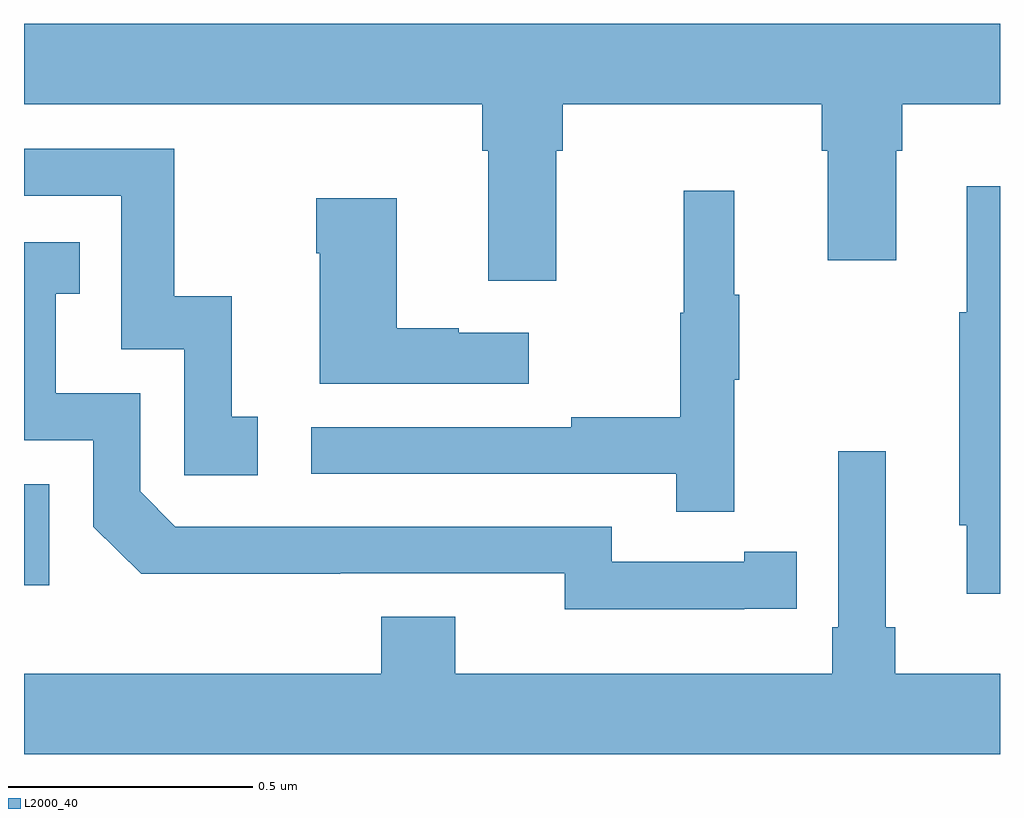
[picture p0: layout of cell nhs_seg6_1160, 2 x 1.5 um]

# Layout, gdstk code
import gdstk
lib = gdstk.Library(unit=1e-6, precision=1e-09)
def R(c, l, rs):  # rectangles x0, y0, x1, y1
    for r in rs: c.add(gdstk.rectangle(r[:2], r[2:], *l))
def P(c, l, *ps):  # polygons
    for p in ps: c.add(gdstk.Polygon(p, *l))
L2000_40 = (2000, 40)

nhs_seg6_1160 = lib.new_cell('nhs_seg6_1160')
R(nhs_seg6_1160, L2000_40, [(125,988.974,125.052,989.181)])
P(nhs_seg6_1160, L2000_40, [(126.091,989.864),(126.104,989.864),(126.104,989.96),(126.635,989.96),(126.635,989.864),(126.647,989.864),(126.647,989.64),(126.787,989.64),(126.787,989.864),(126.8,989.864),(126.8,989.96),(127,989.96),(127,990.124),(125,990.124),(125,989.96),(125.939,989.96),(125.939,989.864),(125.951,989.864),(125.951,989.598),(126.091,989.598)],
  [(125.479,989.319),(125.426,989.319),(125.426,989.566),(125.308,989.566),(125.308,989.868),(125,989.868),(125,989.772),(125.199,989.772),(125.199,989.457),(125.328,989.457),(125.328,989.199),(125.479,989.199)],
  [(127,989.791),(126.932,989.791),(126.932,989.533),(126.917,989.533),(126.917,989.097),(126.932,989.097),(126.932,988.956),(127,988.956)],
  [(126.455,989.395),(126.466,989.395),(126.466,989.569),(126.455,989.569),(126.455,989.782),(126.352,989.782),(126.352,989.532),(126.345,989.532),(126.345,989.318),(126.121,989.318),(126.121,989.298),(125.589,989.298),(125.589,989.202),(126.337,989.202),(126.337,989.124),(126.455,989.124)],
  [(126.034,989.491),(125.891,989.491),(125.891,989.501),(125.764,989.501),(125.764,989.767),(125.599,989.767),(125.599,989.654),(125.606,989.654),(125.606,989.387),(126.034,989.387)],
  [(126.476,988.926),(126.584,988.926),(126.584,989.042),(126.476,989.042),(126.476,989.022),(126.204,989.022),(126.204,989.094),(125.31,989.094),(125.238,989.166),(125.238,989.367),(125.065,989.367),(125.065,989.571),(125.114,989.571),(125.114,989.677),(125,989.677),(125,989.271),(125.142,989.271),(125.142,989.094),(125.24,988.997),(125.648,988.997),(125.648,988.998),(126.108,988.998),(126.108,988.925),(126.476,988.925)],
  [(127,988.792),(126.785,988.792),(126.785,988.888),(126.766,988.888),(126.766,989.248),(126.669,989.248),(126.669,988.888),(126.656,988.888),(126.656,988.792),(125.884,988.792),(125.884,988.909),(125.732,988.909),(125.732,988.792),(125,988.792),(125,988.628),(127,988.628)])

lib.write_gds('nhs_seg6_1160.gds')
